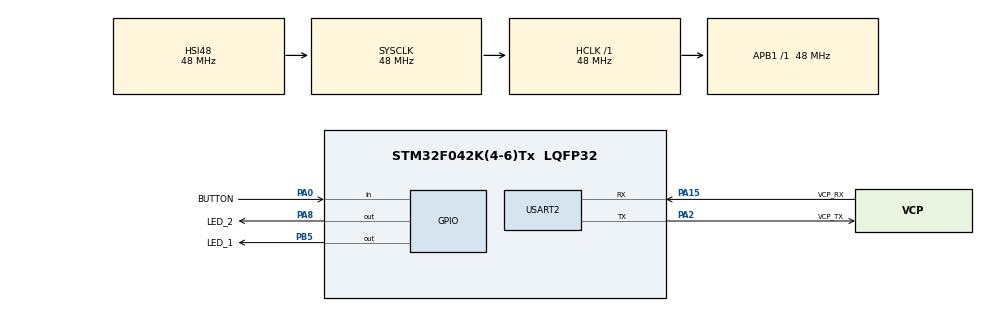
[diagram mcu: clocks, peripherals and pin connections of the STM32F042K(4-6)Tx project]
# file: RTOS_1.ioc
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FREERTOS.Tasks01=defaultTask,0,128,StartDefaultTask,Default,NULL,Dynamic,NULL,NULL;Task1,0,128,Task1_init,Default,NULL,Dynamic,NULL,NULL
FREERTOS.configUSE_NEWLIB_REENTRANT=0
Mcu.Family=STM32F0
Mcu.Name=STM32F042K(4-6)Tx
Mcu.Package=LQFP32
NVIC.FLASH_IRQn=true\:3\:0\:false\:true\:true\:2\:true\:true\:true\:true
NVIC.PVD_VDDIO2_IRQn=true\:3\:0\:true\:true\:true\:1\:true\:true\:true\:true
NVIC.RCC_CRS_IRQn=true\:3\:0\:false\:true\:true\:3\:true\:true\:false\:true
NVIC.TIM17_IRQn=true\:0\:0\:true\:false\:true\:false\:false\:true\:true
NVIC.TimeBase=TIM17_IRQn
NVIC.TimeBaseIP=TIM17
NVIC.USART2_IRQn=true\:3\:0\:false\:true\:true\:4\:true\:true\:true\:true
PA0.GPIO_Label=BUTTON
PA0.Signal=GPIO_Input
PA13.GPIO_Label=SWDIO
PA13.Mode=Serial_Wire
PA13.Signal=SYS_SWDIO
PA14.GPIO_Label=SWCLK
PA14.Mode=Serial_Wire
PA14.Signal=SYS_SWCLK
PA15.GPIO_Label=VCP_RX
PA15.Mode=Asynchronous
PA15.Signal=USART2_RX
PA2.GPIO_Label=VCP_TX
PA2.Mode=Asynchronous
PA2.Signal=USART2_TX
PA8.GPIO_Label=LED_2
PA8.Signal=GPIO_Output
PB5.GPIO_Label=LED_1
PB5.Signal=GPIO_Output
PF0-OSC_IN.GPIO_Label=MCO
PF0-OSC_IN.Mode=HSE-External-Oscillator
PF0-OSC_IN.Signal=RCC_OSC_IN
PF1-OSC_OUT.Mode=HSE-External-Oscillator
PF1-OSC_OUT.Signal=RCC_OSC_OUT
ProjectManager.HeapSize=0x200
ProjectManager.StackSize=0x400
ProjectManager.TargetToolchain=STM32CubeIDE
RCC.AHBFreq_Value=48000000
RCC.APB1Freq_Value=48000000
RCC.APB1TimFreq_Value=48000000
RCC.HCLKFreq_Value=48000000
RCC.SYSCLKFreq_VALUE=48000000
RCC.SYSCLKSource=RCC_SYSCLKSOURCE_HSI48
USART2.VirtualMode-Asynchronous=VM_ASYNC
VP_FREERTOS_VS_CMSIS_V1.Mode=CMSIS_V1
VP_SYS_VS_tim17.Mode=TIM17
board=NUCLEO-F042K6

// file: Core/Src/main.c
/* USER CODE BEGIN Header */
/**
  ******************************************************************************
  * @file           : main.c
  * @brief          : Main program body
  ******************************************************************************
  * @attention
  *
  * Copyright (c) 2025 STMicroelectronics.
  * All rights reserved.
  *
  * This software is licensed under terms that can be found in the LICENSE file
  * in the root directory of this software component.
  * If no LICENSE file comes with this software, it is provided AS-IS.
  *
  ******************************************************************************
  */
/* USER CODE END Header */
#include "main.h"
#include "cmsis_os.h"

UART_HandleTypeDef huart2;

osThreadId defaultTaskHandle;
osThreadId Task1Handle;
/* USER CODE BEGIN PV */

osThreadId Task2Handle;

/* USER CODE END PV */

void SystemClock_Config(void);
static void MX_GPIO_Init(void);
static void MX_USART2_UART_Init(void);
void StartDefaultTask(void const * argument);
void Task1_init(void const * argument);

static void MX_NVIC_Init(void);
/* USER CODE BEGIN PFP */

void Task2_init(void const * argument) ;

/* USER CODE END PFP */

int main(void)
{

  /* MCU Configuration--------------------------------------------------------*/

  /* Reset of all peripherals, Initializes the Flash interface and the Systick. */
  HAL_Init();

  /* Configure the system clock */
  SystemClock_Config();

  /* Initialize all configured peripherals */
  MX_GPIO_Init();
  MX_USART2_UART_Init();

  /* Initialize interrupts */
  MX_NVIC_Init();

  /* Create the thread(s) */
  /* definition and creation of defaultTask */
  osThreadDef(defaultTask, StartDefaultTask, osPriorityAboveNormal, 0, 128);
  defaultTaskHandle = osThreadCreate(osThread(defaultTask), NULL);

  /* definition and creation of Task1 */
  osThreadDef(Task1, Task1_init, osPriorityNormal, 0, 128);
  Task1Handle = osThreadCreate(osThread(Task1), NULL);

  /* USER CODE BEGIN RTOS_THREADS */
  osThreadDef(Task2, Task2_init, osPriorityBelowNormal, 0, 128);
  Task2Handle = osThreadCreate(osThread(Task2), NULL);

  /* add threads, ... */
  /* USER CODE END RTOS_THREADS */

  /* Start scheduler */
  osKernelStart();

  /* We should never get here as control is now taken by the scheduler */

  /* Infinite loop */
  while (1)
  {

  }
}

void SystemClock_Config(void)
{
  RCC_OscInitTypeDef RCC_OscInitStruct = {0};
  RCC_ClkInitTypeDef RCC_ClkInitStruct = {0};

  /** Initializes the RCC Oscillators according to the specified parameters
  * in the RCC_OscInitTypeDef structure.
  */
  RCC_OscInitStruct.OscillatorType = RCC_OSCILLATORTYPE_HSI48;
  RCC_OscInitStruct.HSI48State = RCC_HSI48_ON;
  RCC_OscInitStruct.PLL.PLLState = RCC_PLL_NONE;
  if (HAL_RCC_OscConfig(&RCC_OscInitStruct) != HAL_OK)
  {
    Error_Handler();
  }

  /** Initializes the CPU, AHB and APB buses clocks
  */
  RCC_ClkInitStruct.ClockType = RCC_CLOCKTYPE_HCLK|RCC_CLOCKTYPE_SYSCLK
                              |RCC_CLOCKTYPE_PCLK1;
  RCC_ClkInitStruct.SYSCLKSource = RCC_SYSCLKSOURCE_HSI48;
  RCC_ClkInitStruct.AHBCLKDivider = RCC_SYSCLK_DIV1;
  RCC_ClkInitStruct.APB1CLKDivider = RCC_HCLK_DIV1;

  if (HAL_RCC_ClockConfig(&RCC_ClkInitStruct, FLASH_LATENCY_1) != HAL_OK)
  {
    Error_Handler();
  }
}

/**
  * @brief NVIC Configuration.
  * @retval None
  */
static void MX_NVIC_Init(void)
{
  /* PVD_VDDIO2_IRQn interrupt configuration */
  HAL_NVIC_SetPriority(PVD_VDDIO2_IRQn, 3, 0);
  HAL_NVIC_EnableIRQ(PVD_VDDIO2_IRQn);
  /* FLASH_IRQn interrupt configuration */
  HAL_NVIC_SetPriority(FLASH_IRQn, 3, 0);
  HAL_NVIC_EnableIRQ(FLASH_IRQn);
  /* RCC_CRS_IRQn interrupt configuration */
  HAL_NVIC_SetPriority(RCC_CRS_IRQn, 3, 0);
  HAL_NVIC_EnableIRQ(RCC_CRS_IRQn);
  /* USART2_IRQn interrupt configuration */
  HAL_NVIC_SetPriority(USART2_IRQn, 3, 0);
  HAL_NVIC_EnableIRQ(USART2_IRQn);
}

static void MX_USART2_UART_Init(void)
{

  huart2.Instance = USART2;
  huart2.Init.BaudRate = 38400;
  huart2.Init.WordLength = UART_WORDLENGTH_8B;
  huart2.Init.StopBits = UART_STOPBITS_1;
  huart2.Init.Parity = UART_PARITY_NONE;
  huart2.Init.Mode = UART_MODE_TX_RX;
  huart2.Init.HwFlowCtl = UART_HWCONTROL_NONE;
  huart2.Init.OverSampling = UART_OVERSAMPLING_16;
  huart2.Init.OneBitSampling = UART_ONE_BIT_SAMPLE_DISABLE;
  huart2.AdvancedInit.AdvFeatureInit = UART_ADVFEATURE_NO_INIT;
  if (HAL_UART_Init(&huart2) != HAL_OK)
  {
    Error_Handler();
  }

}

static void MX_GPIO_Init(void)
{
  GPIO_InitTypeDef GPIO_InitStruct = {0};

  /* GPIO Ports Clock Enable */
  __HAL_RCC_GPIOF_CLK_ENABLE();
  __HAL_RCC_GPIOA_CLK_ENABLE();
  __HAL_RCC_GPIOB_CLK_ENABLE();

  /*Configure GPIO pin Output Level */
  HAL_GPIO_WritePin(LED_2_GPIO_Port, LED_2_Pin, GPIO_PIN_RESET);

  /*Configure GPIO pin Output Level */
  HAL_GPIO_WritePin(LED_1_GPIO_Port, LED_1_Pin, GPIO_PIN_RESET);

  /*Configure GPIO pin : BUTTON_Pin */
  GPIO_InitStruct.Pin = BUTTON_Pin;
  GPIO_InitStruct.Mode = GPIO_MODE_INPUT;
  GPIO_InitStruct.Pull = GPIO_NOPULL;
  HAL_GPIO_Init(BUTTON_GPIO_Port, &GPIO_InitStruct);

  /*Configure GPIO pin : LED_2_Pin */
  GPIO_InitStruct.Pin = LED_2_Pin;
  GPIO_InitStruct.Mode = GPIO_MODE_OUTPUT_PP;
  GPIO_InitStruct.Pull = GPIO_NOPULL;
  GPIO_InitStruct.Speed = GPIO_SPEED_FREQ_LOW;
  HAL_GPIO_Init(LED_2_GPIO_Port, &GPIO_InitStruct);

  /*Configure GPIO pin : LED_1_Pin */
  GPIO_InitStruct.Pin = LED_1_Pin;
  GPIO_InitStruct.Mode = GPIO_MODE_OUTPUT_PP;
  GPIO_InitStruct.Pull = GPIO_NOPULL;
  GPIO_InitStruct.Speed = GPIO_SPEED_FREQ_LOW;
  HAL_GPIO_Init(LED_1_GPIO_Port, &GPIO_InitStruct);

}

/* USER CODE BEGIN 4 */

void send_defTask_mes(){
	uint8_t message[] = "Message from def task\n" ;
	HAL_UART_Transmit(&huart2, message, sizeof(message), 500) ;
}

void send_Task1_mes(){
	uint8_t message[] = "Message from Task 1\n" ;
	HAL_UART_Transmit(&huart2, message, sizeof(message), 500) ;
}

void send_Task2_mes(){
	uint8_t message[] = "Message from Task 2\n" ;
	HAL_UART_Transmit(&huart2, message, sizeof(message), 500) ;
}

void Task2_init(void const * argument)
{
  /* USER CODE BEGIN Task1_init */
  /* Infinite loop */
  for(;;)
  {
	send_Task2_mes() ;
    osDelay(1000);
  }
  /* USER CODE END Task1_init */
}

/* USER CODE END 4 */

void StartDefaultTask(void const * argument)
{
  /* USER CODE BEGIN 5 */
  /* Infinite loop */
  for(;;)
  {
	//HAL_GPIO_TogglePin(LED_1_GPIO_Port, LED_1_Pin) ;
    send_defTask_mes() ;
	osDelay(1000);
  }
  /* USER CODE END 5 */
}

void Task1_init(void const * argument)
{
  /* USER CODE BEGIN Task1_init */
  /* Infinite loop */
  for(;;)
  {
	send_Task1_mes() ;
    osDelay(1000);
  }
  /* USER CODE END Task1_init */
}

void HAL_TIM_PeriodElapsedCallback(TIM_HandleTypeDef *htim)
{
  if (htim->Instance == TIM17) {
    HAL_IncTick();
  }
}

void Error_Handler(void)
{
  __disable_irq();
  while (1)
  {
  }
}
